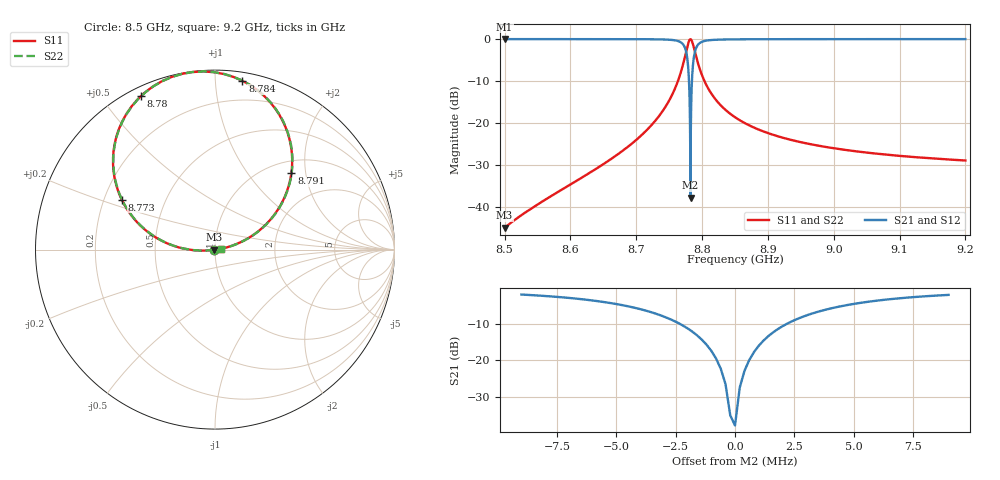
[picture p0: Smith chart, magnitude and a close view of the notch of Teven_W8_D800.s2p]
! Sonnet Data File
! From: emgraph Version : 16.52
! From Project: transmon_brg
! Data is De-embedded
! Data File Written: 11/11/2017 22:44:24
!< HDATE 11/11/2017 16:55:33
!< MDATE 11/11/2017 17:38:18
!< PARAMS
!< Lj = 15.24
!< Gap = 6.0
!< Width = 10.0
!< Airgap = 6.0
!< Pwidth = 2000.0
!< Dist = 800.0
!< END PARAMS
# GHZ S MA R 51.80000
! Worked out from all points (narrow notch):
!   3501 points, 8.5 GHz to 9.2 GHz, reference 51.8 ohm
!   highest |S21| = 0.00 dB at 8.5 GHz (marker M1); lowest = -37.9 dB at 8.782 GHz (marker M2)
!   notch at M2: 37.9 dB deep, 1.53 MHz wide at half that depth
!   lowest |S11| = -45.0 dB at 8.5 GHz (marker M3), VSWR 1.01, Z = 51.2 - j0.0987 ohm
!   |S11| at or under -10 dB: start of sweep to 8.763 GHz; 8.804 GHz to end of sweep
!   |S22| runs from -45.0 to 0.0 dB; largest |S21 - S12| = 0
!   S11 on the Smith chart (normalised r, x): 8.5 GHz: 0.99, -0.00; 8.773 GHz: 0.27, +0.23; 8.78 GHz: 0.04, +0.63; 8.784 GHz: 0.06, +1.17; 8.791 GHz: 1.25, +1.66; 9.2 GHz: 1.07, +0.01
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8.5  0.005602 -170.1  1 -79.8  1 -79.8  0.005602 -169.6
!< P1 F=8.5 Eeff=(6.44695349 -2.9785e-5) Z0=(51.7999087 1.19092e-4) R=0.0 C=0.0
!< P2 F=8.5 Eeff=(6.44695349 -2.9785e-5) Z0=(51.7999087 1.19092e-4) R=0.0 C=0.0
8.6168  0.02205 -171.8  0.9997 -81.8  0.9997 -81.8  0.02205 -171.8
8.6888  0.05291 -174.2  0.9986 -84.3  0.9986 -84.3  0.05291 -174.3
8.7334  0.1172 -178.3  0.9931 -88.4  0.9931 -88.4  0.1172 -178.5
8.7498  0.1837 177.7  0.9829 -92.4  0.9829 -92.4  0.1837 177.5
8.7624  0.302 170.5  0.953 -99.5  0.953 -99.5  0.302 170.4
8.7688  0.4293 162.6  0.9026 -107.4  0.9026 -107.4  0.4293 162.4
8.7734  0.5894 151.8  0.8067 -118.1  0.8067 -118.1  0.5894 151.7
8.7774  0.8001 134.7  0.597 -135.2  0.597 -135.2  0.8001 134.5
8.7802  0.9505 115.6  0.3029 -154.0  0.3029 -154.0  0.9505 115.5
8.7824  0.9973 97.3  0.01275 -4.8  0.01275 -4.8  0.9973 97.1
8.7844  0.9529 80.8  0.2955 -9.8  0.2955 -9.8  0.9529 80.6
8.7874  0.7986 61.1  0.5991 -29.2  0.5991 -29.2  0.7986 61.0
8.7914  0.6016 45.0  0.7977 -45.2  0.7977 -45.2  0.6016 44.8
8.7974  0.4189 32.7  0.9075 -57.5  0.9075 -57.5  0.4189 32.5
8.8066  0.2819 24.2  0.9593 -66.0  0.9593 -66.0  0.2819 24.0
8.825  0.1726 17.6  0.9849 -72.6  0.9849 -72.6  0.1726 17.4
8.85  0.1167 14.1  0.9931 -76.0  0.9931 -76.0  0.1167 13.9
8.8984  0.07623 11.3  0.9971 -78.8  0.9971 -78.8  0.07623 11.1
8.9668  0.05517 9.5  0.9985 -80.7  0.9985 -80.7  0.05517 9.2
9.0834  0.04144 7.6  0.9991 -82.5  0.9991 -82.5  0.04144 7.3
9.2  0.03551 6.2  0.9994 -84.0  0.9994 -84.0  0.03551 5.9
